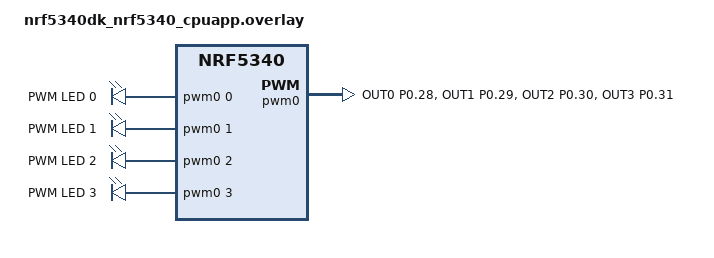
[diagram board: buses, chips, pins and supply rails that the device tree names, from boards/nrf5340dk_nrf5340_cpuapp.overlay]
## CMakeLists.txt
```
# SPDX-License-Identifier: Apache-2.0

cmake_minimum_required(VERSION 3.20.0)
find_package(Zephyr REQUIRED HINTS $ENV{ZEPHYR_BASE})
project(81_pwm_led)

target_sources(app PRIVATE src/main.c)
```

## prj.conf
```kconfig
# 启用GPIO和PWM
CONFIG_GPIO=y
CONFIG_PWM=y

# 启用日志
CONFIG_LOG=y
CONFIG_LOG_MODE_IMMEDIATE=y

# 启用硬件支持
CONFIG_NRFX_PWM0=y
CONFIG_NRFX_PWM1=y
CONFIG_NRFX_PWM2=y
CONFIG_NRFX_PWM3=y

# 必需配置
CONFIG_PINCTRL=y
CONFIG_PM=y
CONFIG_NRFX_PWM20=y  # 对于nRF5340需要这个配置

# 数学库支持
CONFIG_NEWLIB_LIBC=y
CONFIG_NEWLIB_LIBC_FLOAT_PRINTF=y
```

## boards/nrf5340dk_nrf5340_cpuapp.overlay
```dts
#include <zephyr/dt-bindings/pinctrl/nrf-pinctrl.h>

/ {
    aliases {
        pwm-led0 = &pwm_led0;
        pwm-led1 = &pwm_led1;
        pwm-led2 = &pwm_led2;
        pwm-led3 = &pwm_led3;
    };

    pwmleds {
        compatible = "pwm-leds";

        pwm_led0: pwm_led_0 {
            pwms = <&pwm0 0 PWM_MSEC(20) PWM_POLARITY_NORMAL>;
            label = "PWM LED 0";
        };

        pwm_led1: pwm_led_1 {
            pwms = <&pwm0 1 PWM_MSEC(20) PWM_POLARITY_NORMAL>;
            label = "PWM LED 1";
        };

        pwm_led2: pwm_led_2 {
            pwms = <&pwm0 2 PWM_MSEC(20) PWM_POLARITY_NORMAL>;
            label = "PWM LED 2";
        };

        pwm_led3: pwm_led_3 {
            pwms = <&pwm0 3 PWM_MSEC(20) PWM_POLARITY_NORMAL>;
            label = "PWM LED 3";
        };
    };
};

&pinctrl {
    pwm0_default: pwm0_default {
        group1 {
            psels = <NRF_PSEL(PWM_OUT0, 0, 28)>, <NRF_PSEL(PWM_OUT1, 0, 29)>, <NRF_PSEL(PWM_OUT2, 0, 30)>, <NRF_PSEL(PWM_OUT3, 0, 31)>;
            nordic,drive-mode = <NRF_DRIVE_S0S1>;
            nordic,invert;
        };
    };

    pwm0_sleep: pwm0_sleep {
        group1 {
            psels = <NRF_PSEL(PWM_OUT0, 0, 28)>, <NRF_PSEL(PWM_OUT1, 0, 29)>, <NRF_PSEL(PWM_OUT2, 0, 30)>, <NRF_PSEL(PWM_OUT3, 0, 31)>;
            low-power-enable;
        };
    };
};

&pwm0 {
    status = "okay";
    pinctrl-0 = <&pwm0_default>;
    pinctrl-1 = <&pwm0_sleep>;
    pinctrl-names = "default", "sleep";
};
```

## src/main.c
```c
#include <zephyr/kernel.h>
#include <zephyr/device.h>
#include <zephyr/drivers/pwm.h>
#include <zephyr/logging/log.h>
#include <math.h>

LOG_MODULE_REGISTER(main, LOG_LEVEL_DBG);

/* 使用DT_NODELABEL替代DT_ALIAS */
#define PWM_LED0_NODE DT_NODELABEL(pwm_led0)
#define PWM_LED1_NODE DT_NODELABEL(pwm_led1)
#define PWM_LED2_NODE DT_NODELABEL(pwm_led2)
#define PWM_LED3_NODE DT_NODELABEL(pwm_led3)

static const struct pwm_dt_spec pwm_led0 = PWM_DT_SPEC_GET(PWM_LED0_NODE);
static const struct pwm_dt_spec pwm_led1 = PWM_DT_SPEC_GET(PWM_LED1_NODE);
static const struct pwm_dt_spec pwm_led2 = PWM_DT_SPEC_GET(PWM_LED2_NODE);
static const struct pwm_dt_spec pwm_led3 = PWM_DT_SPEC_GET(PWM_LED3_NODE);

#define PWM_PERIOD_NS 20000000  // 20ms period (50Hz)

/* 提前声明所有效果函数 */
void update_led_duty_cycle(const struct pwm_dt_spec *led, uint32_t duty_cycle_ns);
void breathing_effect(const struct pwm_dt_spec *led, uint32_t period_ms);
void blinking_effect(const struct pwm_dt_spec *led, uint32_t period_ms);
void variable_blink_effect(const struct pwm_dt_spec *led, uint32_t base_period_ms);
void smooth_transition_effect(const struct pwm_dt_spec *led, uint32_t period_ms);

void update_led_duty_cycle(const struct pwm_dt_spec *led, uint32_t duty_cycle_ns) {
	if (!pwm_is_ready_dt(led)) {
		LOG_ERR("PWM device %s is not ready", led->dev->name);
		return;
	}

	int ret = pwm_set_pulse_dt(led, duty_cycle_ns);
	if (ret < 0) {
		LOG_ERR("Failed to set PWM pulse width for %s: %d", led->dev->name, ret);
	}
}

void breathing_effect(const struct pwm_dt_spec *led, uint32_t period_ms) {
	static uint32_t count = 0;
	static bool increasing = true;
	static uint32_t last_update = 0;
	uint32_t now = k_uptime_get_32();
	uint32_t delta = 20000;

	if (now - last_update < period_ms / 100) {
		return;
	}
	last_update = now;

	if (increasing) {
		count += delta;
		if (count >= PWM_PERIOD_NS) {
			count = PWM_PERIOD_NS;
			increasing = false;
		}
	} else {
		count -= delta;
		if (count <= 0) {
			count = 0;
			increasing = true;
		}
	}

	update_led_duty_cycle(led, count);
}

void blinking_effect(const struct pwm_dt_spec *led, uint32_t period_ms) {
	static uint32_t last_toggle = 0;
	static bool is_on = false;
	uint32_t now = k_uptime_get_32();

	if (now - last_toggle < period_ms) {
		return;
	}
	last_toggle = now;

	is_on = !is_on;
	update_led_duty_cycle(led, is_on ? PWM_PERIOD_NS : 0);
}

void variable_blink_effect(const struct pwm_dt_spec *led, uint32_t base_period_ms) {
	static uint32_t phase = 0;
	static uint32_t last_update = 0;
	uint32_t now = k_uptime_get_32();

	if (now - last_update < base_period_ms / 10) {
		return;
	}
	last_update = now;

	phase = (phase + 1) % 100;
	uint32_t duty_cycle = PWM_PERIOD_NS * (phase < 50 ? phase : 100 - phase) / 50;
	update_led_duty_cycle(led, duty_cycle);
}

void smooth_transition_effect(const struct pwm_dt_spec *led, uint32_t period_ms) {
	static uint32_t position = 0;
	static uint32_t last_update = 0;
	uint32_t now = k_uptime_get_32();

	if (now - last_update < period_ms / 360) {
		return;
	}
	last_update = now;

	position = (position + 1) % 360;
	float radians = position * 3.1415926f / 180.0f;
	uint32_t duty_cycle = (uint32_t)((sinf(radians) + 1.0f) * PWM_PERIOD_NS / 2.0f);
	update_led_duty_cycle(led, duty_cycle);
}

int main(void) {
	LOG_INF("PWM LED Control Started");

	if (!device_is_ready(pwm_led0.dev)) {
		LOG_ERR("PWM0 device not ready");
		return -1;
	} else if (!device_is_ready(pwm_led1.dev)) {
		LOG_ERR("PWM1 device not ready");
		return -1;
	} else if (!device_is_ready(pwm_led2.dev)) {
		LOG_ERR("PWM2 device not ready");
		return -1;
	} else if (!device_is_ready(pwm_led3.dev)) {
		LOG_ERR("PWM3 device not ready");
		return -1;
	} else {
		LOG_INF("all PWM (#0-3) devices are ready");
	}

	// 初始设置所有LED为关闭状态
	update_led_duty_cycle(&pwm_led0, 0);
	update_led_duty_cycle(&pwm_led1, 0);
	update_led_duty_cycle(&pwm_led2, 0);
	update_led_duty_cycle(&pwm_led3, 0);

	while (1) {
		// LED0: Breathing effect (slow)
		breathing_effect(&pwm_led0, 200);

		// LED1: Blinking effect (medium speed)
		blinking_effect(&pwm_led1, 1000);

		// LED2: Variable blink effect (fast changing)
		variable_blink_effect(&pwm_led2, 2000);

		// LED3: Smooth sine wave transition
		smooth_transition_effect(&pwm_led3, 4000);

		k_sleep(K_MSEC(10));
	}

	return 0;
}
```
